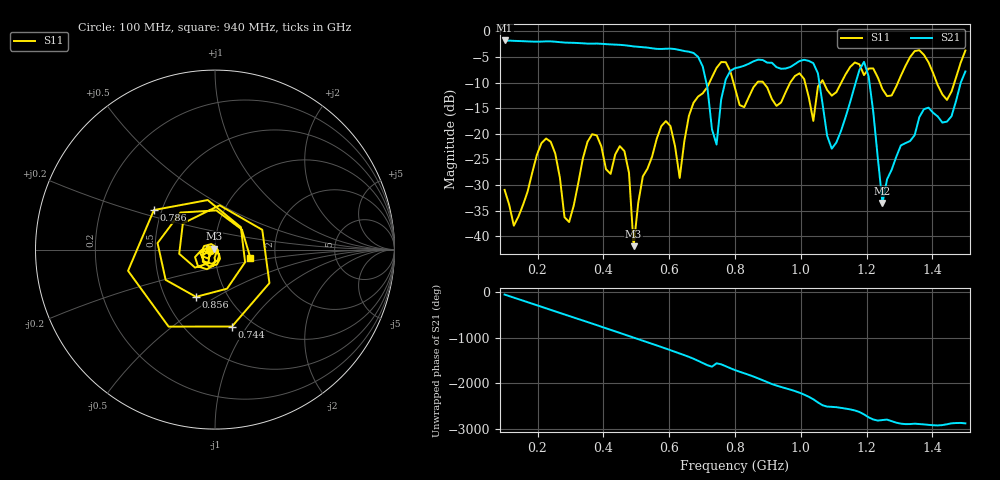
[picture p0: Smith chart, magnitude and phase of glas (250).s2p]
! NanoVNA-App
! Date: 2025-09-25 15:57:25
! Start: 100MHz Stop: 1,5GHz Points: 101
! S-Parameter data: F S11 S21 S12 S22
# Hz S RI R 50
!  Frequency  S11_Real  S11_Imag  S21_Real  S21_Imag  S12_Real  S12_Imag  S22_Real  S22_Imag
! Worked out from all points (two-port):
!   101 points, 100 MHz to 1.5 GHz, reference 50 ohm
!   highest |S21| = -1.80 dB at 100 MHz (marker M1); lowest = -33.5 dB at 1.248 GHz (marker M2)
!   |S21| within 3 dB of the highest: start of sweep to 684.2 MHz
!   lowest |S11| = -41.9 dB at 492 MHz (marker M3), VSWR 1.02, Z = 49.5 + j0.602 ohm
!   |S11| at or under -10 dB: start of sweep to 722.5 MHz; 795.3 MHz to 867.8 MHz (72.52 MHz wide, 8.72 % of centre); 886 MHz to 967.9 MHz (81.97 MHz wide, 8.84 % of centre) (the widest 3 of 7)
!   S12 and S22 are empty: the file has one direction only
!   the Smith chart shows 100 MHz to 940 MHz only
!   S11 on the Smith chart (normalised r, x): 100 MHz: 0.95, -0.01; 744 MHz: 0.80, -0.85; 786 MHz: 0.45, +0.24; 856 MHz: 0.71, -0.41; 940 MHz: 1.48, -0.14
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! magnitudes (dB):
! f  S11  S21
! 100 MHz  -30.9  -1.8
! 128 MHz  -37.9  -1.9
! 226 MHz  -20.9  -2.0
! 296 MHz  -37.2  -2.2
! 338 MHz  -24.8  -2.4
! 464 MHz  -23.4  -2.7
! 492 MHz  -41.9  -3.0
! 576 MHz  -18.5  -3.5
! 632 MHz  -28.6  -3.7
! 702 MHz  -12.1  -6.9
! 744 MHz  -7.2  -22.1
! 786 MHz  -7.8  -7.7
! 800 MHz  -11.1  -7.2
! 856 MHz  -10.9  -5.9
! 940 MHz  -13.9  -7.3
! 996 MHz  -8.2  -5.8
! 1.038 GHz  -17.5  -6.2
! 1.094 GHz  -12.6  -22.9
! 1.192 GHz  -8.6  -6.0
! 1.248 GHz  -11.3  -33.5
! 1.276 GHz  -12.5  -27.0
! 1.5 GHz  -3.8  -7.8
